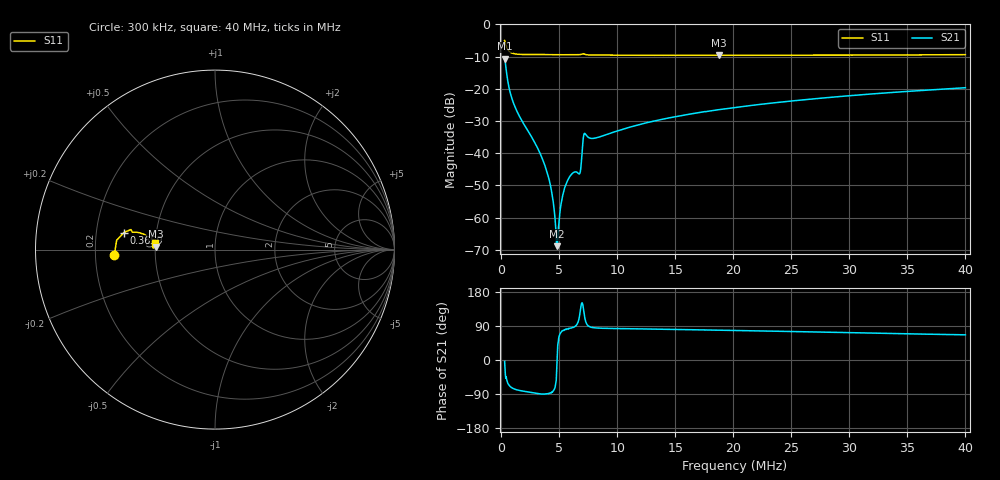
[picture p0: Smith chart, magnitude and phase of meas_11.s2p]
# HZ S RI R 50
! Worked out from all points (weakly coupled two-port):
!   1206 points, 300 kHz to 40 MHz, reference 50 ohm
!   highest |S21| = -10.71 dB at 300 kHz (marker M1); lowest = -68.8 dB at 4.814 MHz (marker M2)
!   lowest |S11| = -9.7 dB at 18.78 MHz (marker M3), VSWR 1.98, Z = 25.2 + j0.978 ohm
!   |S11| at or under -10 dB: nowhere
!   S12 and S22 are empty: the file has one direction only
!   S11 on the Smith chart (normalised r, x): 300 kHz: 0.28, -0.02; 365.9 kHz: 0.32, +0.08; 40 MHz: 0.50, +0.04
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300000  -0.5606 -0.0275  0.291 -0.0176  0 0  0 0
365892  -0.5077 0.0951  0.1954 -0.1543  0 0  0 0
761244  -0.3652 0.0651  0.0319 -0.0844  0 0  0 0
1156596  -0.3465 0.0424  0.0125 -0.053  0 0  0 0
3891114  -0.3383 0.0165  5.74e-05 -0.00555  0 0  0 0
4319412  -0.3377 0.0164  0.000214 -0.00273  0 0  0 0
4681818  -0.3373 0.0166  0.000323 -0.000723  0 0  0 0
4813602  -0.3369 0.0162  0.000357 -6.02e-05  0 0  0 0
5274846  -0.3363 0.0157  0.000484 0.00206  0 0  0 0
5538414  -0.3362 0.0155  0.000526 0.00309  0 0  0 0
6065550  -0.3358 0.0148  0.000452 0.00467  0 0  0 0
6691524  -0.3372 0.0119  -0.00136 0.00462  0 0  0 0
6922146  -0.3417 0.00833  -0.0065 0.004  0 0  0 0
7119822  -0.347 0.0193  -0.012 0.0149  0 0  0 0
7284552  -0.3383 0.0229  -0.00392 0.0192  0 0  0 0
8108202  -0.3321 0.0176  0.00159 0.0171  0 0  0 0
1.354429e7  -0.33 0.0175  0.0049 0.0323  0 0  0 0
1.878271e7  -0.3287 0.0173  0.00939 0.0466  0 0  0 0
2.016644e7  -0.3292 0.0182  0.0108 0.0502  0 0  0 0
2.678858e7  -0.3312 0.0273  0.019 0.0666  0 0  0 0
3.341073e7  -0.3324 0.0298  0.0295 0.0817  0 0  0 0
3.999993e7  -0.3363 0.0361  0.0415 0.0951  0 0  0 0
